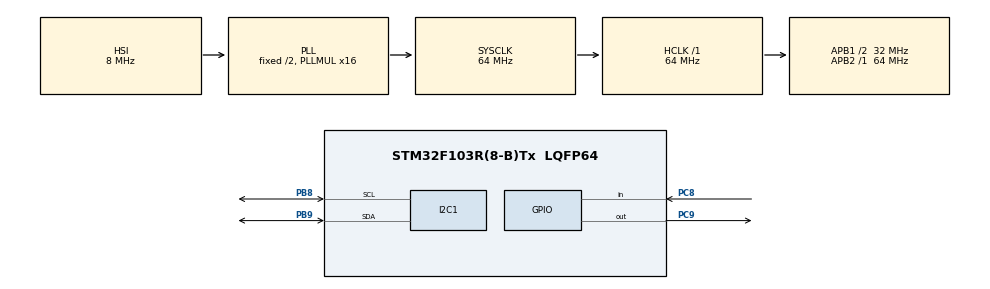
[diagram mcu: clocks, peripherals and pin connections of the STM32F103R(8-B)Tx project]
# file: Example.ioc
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Mcu.Family=STM32F1
Mcu.Name=STM32F103R(8-B)Tx
Mcu.Package=LQFP64
NVIC.PriorityGroup=NVIC_PRIORITYGROUP_4
PA13.Signal=SYS_JTMS-SWDIO
PA14.Signal=SYS_JTCK-SWCLK
PB8.Mode=I2C
PB8.Signal=I2C1_SCL
PB9.Mode=I2C
PB9.Signal=I2C1_SDA
PC14-OSC32_IN.Signal=RCC_OSC32_IN
PC15-OSC32_OUT.Signal=RCC_OSC32_OUT
PC8.Signal=GPIO_Input
PC9.Signal=GPIO_Output
PD0-OSC_IN.Signal=RCC_OSC_IN
PD1-OSC_OUT.Signal=RCC_OSC_OUT
ProjectManager.HeapSize=0x200
ProjectManager.StackSize=0x400
ProjectManager.TargetToolchain=STM32CubeIDE
RCC.AHBFreq_Value=64000000
RCC.APB1CLKDivider=RCC_HCLK_DIV2
RCC.APB1Freq_Value=32000000
RCC.APB1TimFreq_Value=64000000
RCC.APB2Freq_Value=64000000
RCC.APB2TimFreq_Value=64000000
RCC.HCLKFreq_Value=64000000
RCC.PLLMUL=RCC_PLL_MUL16
RCC.SYSCLKFreq_VALUE=64000000
RCC.SYSCLKSource=RCC_SYSCLKSOURCE_PLLCLK
RCC.USBFreq_Value=64000000
VP_RTC_VS_RTC_Activate.Mode=RTC_Enabled
VP_RTC_VS_RTC_Calendar.Mode=RTC_Calendar
VP_SYS_VS_ND.Mode=No_Debug
VP_TIM4_VS_ClockSourceINT.Mode=Internal
board=custom

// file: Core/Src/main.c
/* USER CODE BEGIN Header */
/**
  ******************************************************************************
  * @file           : main.c
  * @brief          : Main program body
  ******************************************************************************
  * @attention
  *
  * <h2><center>&copy; Copyright (c) 2021 STMicroelectronics.
  * All rights reserved.</center></h2>
  *
  * This software component is licensed by ST under BSD 3-Clause license,
  * the "License"; You may not use this file except in compliance with the
  * License. You may obtain a copy of the License at:
  *                        opensource.org/licenses/BSD-3-Clause
  *
  ******************************************************************************
  */
/* USER CODE END Header */

#include "main.h"

/* USER CODE BEGIN Includes */
#include <stdio.h>
#include <string.h>
#include <float.h>
#include "ssd1306.h"
#include "fonts.h"
#include "bitmap.h"
#include "test.h"
#include "HCSR04.h"
/* USER CODE END Includes */

I2C_HandleTypeDef hi2c1;

RTC_HandleTypeDef hrtc;

TIM_HandleTypeDef htim4;

void SystemClock_Config(void);
static void MX_GPIO_Init(void);
static void MX_I2C1_Init(void);
static void MX_RTC_Init(void);
static void MX_TIM4_Init(void);

int main(void)
{
  /* USER CODE BEGIN 1 */

   float valor_cm = 0;
   float valor_inch = 0;
   float valor_m = 0;
   char msg1[30];
   char msg2[30];
   char msg3[30];
   ultrasonic hcsr04 = HCSR04_generate(GPIOA, GPIO_PIN_9, GPIOA, GPIO_PIN_8);
  /* USER CODE END 1 */

  /* MCU Configuration--------------------------------------------------------*/

  /* Reset of all peripherals, Initializes the Flash interface and the Systick. */
  HAL_Init();

  /* Configure the system clock */
  SystemClock_Config();

  /* Initialize all configured peripherals */
  MX_GPIO_Init();
  MX_I2C1_Init();
  MX_RTC_Init();
  MX_TIM4_Init();
  /* USER CODE BEGIN 2 */
  SSD1306_Init();  // initialize
  // lets print some string

  /* USER CODE END 2 */

  /* Infinite loop */
  /* USER CODE BEGIN WHILE */
  while (1)
  {
	  valor_cm = distance_cm(&hcsr04);
	  valor_inch = distance_inch(&hcsr04);
	  valor_m = distance_m(&hcsr04);
	  sprintf(msg1, "cm = %2.2f", valor_cm);
	  sprintf(msg2, "in  = %2.2f", valor_inch);
	  sprintf(msg3, "m = %2.2f", valor_m);

	  SSD1306_GotoXY (0,0);
	  SSD1306_Puts (msg1, &Font_11x18, 1);
	  SSD1306_UpdateScreen(); // update display

	  SSD1306_GotoXY (0,21);
	  SSD1306_Puts (msg2, &Font_11x18, 1);
	  SSD1306_UpdateScreen(); // update display

	  SSD1306_GotoXY (0, 43);
	  SSD1306_Puts (msg3, &Font_11x18, 1);
	  SSD1306_UpdateScreen(); // update display

	  HAL_Delay(2000);
    /* USER CODE END WHILE */

  }
}

void SystemClock_Config(void)
{
  RCC_OscInitTypeDef RCC_OscInitStruct = {0};
  RCC_ClkInitTypeDef RCC_ClkInitStruct = {0};
  RCC_PeriphCLKInitTypeDef PeriphClkInit = {0};

  /** Initializes the CPU, AHB and APB busses clocks
  */
  RCC_OscInitStruct.OscillatorType = RCC_OSCILLATORTYPE_HSI|RCC_OSCILLATORTYPE_LSI;
  RCC_OscInitStruct.HSIState = RCC_HSI_ON;
  RCC_OscInitStruct.HSICalibrationValue = RCC_HSICALIBRATION_DEFAULT;
  RCC_OscInitStruct.LSIState = RCC_LSI_ON;
  RCC_OscInitStruct.PLL.PLLState = RCC_PLL_ON;
  RCC_OscInitStruct.PLL.PLLSource = RCC_PLLSOURCE_HSI_DIV2;
  RCC_OscInitStruct.PLL.PLLMUL = RCC_PLL_MUL16;
  if (HAL_RCC_OscConfig(&RCC_OscInitStruct) != HAL_OK)
  {
    Error_Handler();
  }
  /** Initializes the CPU, AHB and APB busses clocks
  */
  RCC_ClkInitStruct.ClockType = RCC_CLOCKTYPE_HCLK|RCC_CLOCKTYPE_SYSCLK
                              |RCC_CLOCKTYPE_PCLK1|RCC_CLOCKTYPE_PCLK2;
  RCC_ClkInitStruct.SYSCLKSource = RCC_SYSCLKSOURCE_PLLCLK;
  RCC_ClkInitStruct.AHBCLKDivider = RCC_SYSCLK_DIV1;
  RCC_ClkInitStruct.APB1CLKDivider = RCC_HCLK_DIV2;
  RCC_ClkInitStruct.APB2CLKDivider = RCC_HCLK_DIV1;

  if (HAL_RCC_ClockConfig(&RCC_ClkInitStruct, FLASH_LATENCY_2) != HAL_OK)
  {
    Error_Handler();
  }
  PeriphClkInit.PeriphClockSelection = RCC_PERIPHCLK_RTC;
  PeriphClkInit.RTCClockSelection = RCC_RTCCLKSOURCE_LSI;
  if (HAL_RCCEx_PeriphCLKConfig(&PeriphClkInit) != HAL_OK)
  {
    Error_Handler();
  }
}

static void MX_I2C1_Init(void)
{

  hi2c1.Instance = I2C1;
  hi2c1.Init.ClockSpeed = 400000;
  hi2c1.Init.DutyCycle = I2C_DUTYCYCLE_2;
  hi2c1.Init.OwnAddress1 = 0;
  hi2c1.Init.AddressingMode = I2C_ADDRESSINGMODE_7BIT;
  hi2c1.Init.DualAddressMode = I2C_DUALADDRESS_DISABLE;
  hi2c1.Init.OwnAddress2 = 0;
  hi2c1.Init.GeneralCallMode = I2C_GENERALCALL_DISABLE;
  hi2c1.Init.NoStretchMode = I2C_NOSTRETCH_DISABLE;
  if (HAL_I2C_Init(&hi2c1) != HAL_OK)
  {
    Error_Handler();
  }

}

static void MX_RTC_Init(void)
{

  RTC_TimeTypeDef sTime = {0};
  RTC_DateTypeDef DateToUpdate = {0};

  /** Initialize RTC Only
  */
  hrtc.Instance = RTC;
  hrtc.Init.AsynchPrediv = RTC_AUTO_1_SECOND;
  hrtc.Init.OutPut = RTC_OUTPUTSOURCE_NONE;
  if (HAL_RTC_Init(&hrtc) != HAL_OK)
  {
    Error_Handler();
  }

  /** Initialize RTC and set the Time and Date
  */
  sTime.Hours = 0x16;
  sTime.Minutes = 0x0;
  sTime.Seconds = 0x0;

  if (HAL_RTC_SetTime(&hrtc, &sTime, RTC_FORMAT_BCD) != HAL_OK)
  {
    Error_Handler();
  }
  DateToUpdate.WeekDay = RTC_WEEKDAY_MONDAY;
  DateToUpdate.Month = RTC_MONTH_JANUARY;
  DateToUpdate.Date = 0x1;
  DateToUpdate.Year = 0x0;

  if (HAL_RTC_SetDate(&hrtc, &DateToUpdate, RTC_FORMAT_BCD) != HAL_OK)
  {
    Error_Handler();
  }

}

static void MX_TIM4_Init(void)
{

  TIM_ClockConfigTypeDef sClockSourceConfig = {0};
  TIM_MasterConfigTypeDef sMasterConfig = {0};

  htim4.Instance = TIM4;
  htim4.Init.Prescaler = 0;
  htim4.Init.CounterMode = TIM_COUNTERMODE_UP;
  htim4.Init.Period = 0;
  htim4.Init.ClockDivision = TIM_CLOCKDIVISION_DIV1;
  htim4.Init.AutoReloadPreload = TIM_AUTORELOAD_PRELOAD_DISABLE;
  if (HAL_TIM_Base_Init(&htim4) != HAL_OK)
  {
    Error_Handler();
  }
  sClockSourceConfig.ClockSource = TIM_CLOCKSOURCE_INTERNAL;
  if (HAL_TIM_ConfigClockSource(&htim4, &sClockSourceConfig) != HAL_OK)
  {
    Error_Handler();
  }
  sMasterConfig.MasterOutputTrigger = TIM_TRGO_RESET;
  sMasterConfig.MasterSlaveMode = TIM_MASTERSLAVEMODE_DISABLE;
  if (HAL_TIMEx_MasterConfigSynchronization(&htim4, &sMasterConfig) != HAL_OK)
  {
    Error_Handler();
  }

}

static void MX_GPIO_Init(void)
{
  GPIO_InitTypeDef GPIO_InitStruct = {0};

  /* GPIO Ports Clock Enable */
  __HAL_RCC_GPIOC_CLK_ENABLE();
  __HAL_RCC_GPIOD_CLK_ENABLE();
  __HAL_RCC_GPIOA_CLK_ENABLE();
  __HAL_RCC_GPIOB_CLK_ENABLE();

  /*Configure GPIO pin Output Level */
  HAL_GPIO_WritePin(GPIOC, GPIO_PIN_9, GPIO_PIN_RESET);

  /*Configure GPIO pin : PC8 */
  GPIO_InitStruct.Pin = GPIO_PIN_8;
  GPIO_InitStruct.Mode = GPIO_MODE_INPUT;
  GPIO_InitStruct.Pull = GPIO_NOPULL;
  HAL_GPIO_Init(GPIOC, &GPIO_InitStruct);

  /*Configure GPIO pin : PC9 */
  GPIO_InitStruct.Pin = GPIO_PIN_9;
  GPIO_InitStruct.Mode = GPIO_MODE_OUTPUT_PP;
  GPIO_InitStruct.Pull = GPIO_NOPULL;
  GPIO_InitStruct.Speed = GPIO_SPEED_FREQ_LOW;
  HAL_GPIO_Init(GPIOC, &GPIO_InitStruct);

}

void Error_Handler(void)
{
}

/************************ (C) COPYRIGHT STMicroelectronics *****END OF FILE****/
